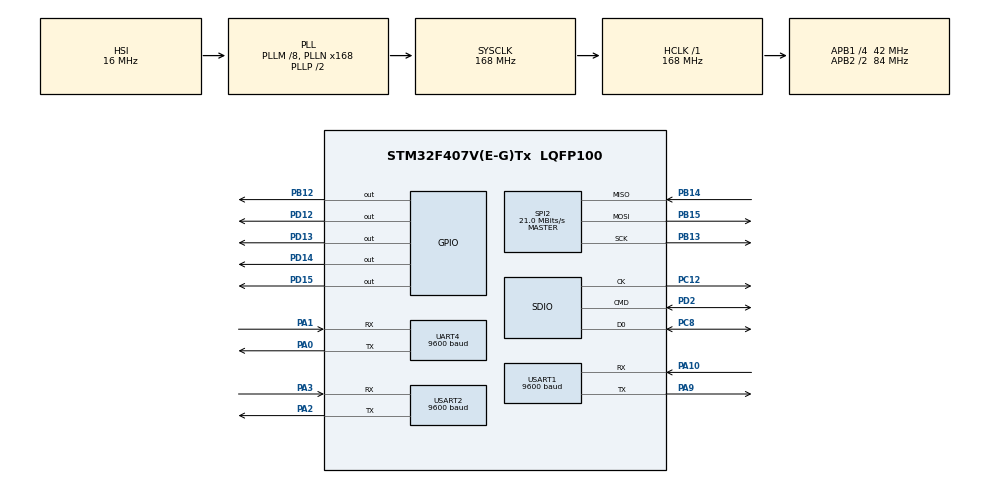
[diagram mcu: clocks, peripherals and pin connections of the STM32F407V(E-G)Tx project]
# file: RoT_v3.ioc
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Mcu.Family=STM32F4
Mcu.Name=STM32F407V(E-G)Tx
Mcu.Package=LQFP100
NVIC.PriorityGroup=NVIC_PRIORITYGROUP_4
PA0-WKUP.Mode=Asynchronous
PA0-WKUP.Signal=UART4_TX
PA1.Mode=Asynchronous
PA1.Signal=UART4_RX
PA10.Mode=Asynchronous
PA10.Signal=USART1_RX
PA13.Mode=Serial_Wire
PA13.Signal=SYS_JTMS-SWDIO
PA14.Mode=Serial_Wire
PA14.Signal=SYS_JTCK-SWCLK
PA2.Mode=Asynchronous
PA2.Signal=USART2_TX
PA3.Mode=Asynchronous
PA3.Signal=USART2_RX
PA9.Mode=Asynchronous
PA9.Signal=USART1_TX
PB12.Signal=GPIO_Output
PB13.Mode=Full_Duplex_Master
PB13.Signal=SPI2_SCK
PB14.Mode=Full_Duplex_Master
PB14.Signal=SPI2_MISO
PB15.Mode=Full_Duplex_Master
PB15.Signal=SPI2_MOSI
PC12.Mode=SD_1_bit
PC12.Signal=SDIO_CK
PC8.Mode=SD_1_bit
PC8.Signal=SDIO_D0
PD12.Signal=GPIO_Output
PD13.Signal=GPIO_Output
PD14.Signal=GPIO_Output
PD15.Signal=GPIO_Output
PD2.Mode=SD_1_bit
PD2.Signal=SDIO_CMD
PH0-OSC_IN.Mode=HSE-External-Oscillator
PH0-OSC_IN.Signal=RCC_OSC_IN
PH1-OSC_OUT.Mode=HSE-External-Oscillator
PH1-OSC_OUT.Signal=RCC_OSC_OUT
ProjectManager.HeapSize=0x200
ProjectManager.StackSize=0x400
ProjectManager.TargetToolchain=STM32CubeIDE
RCC.48MHZClocksFreq_Value=84000000
RCC.AHBFreq_Value=168000000
RCC.APB1CLKDivider=RCC_HCLK_DIV4
RCC.APB1Freq_Value=42000000
RCC.APB1TimFreq_Value=84000000
RCC.APB2CLKDivider=RCC_HCLK_DIV2
RCC.APB2Freq_Value=84000000
RCC.APB2TimFreq_Value=168000000
RCC.CortexFreq_Value=168000000
RCC.HCLKFreq_Value=168000000
RCC.HSE_VALUE=8000000
RCC.HSI_VALUE=16000000
RCC.LSE_VALUE=32768
RCC.PLLM=8
RCC.PLLN=168
RCC.SYSCLKFreq_VALUE=168000000
RCC.SYSCLKSource=RCC_SYSCLKSOURCE_PLLCLK
RCC.VCOOutputFreq_Value=336000000
SDIO.ClockDiv=2
SPI2.CalculateBaudRate=21.0 MBits/s
SPI2.Direction=SPI_DIRECTION_2LINES
SPI2.Mode=SPI_MODE_MASTER
SPI2.VirtualType=VM_MASTER
TIM1.Prescaler=33600-1
UART4.BaudRate=9600
UART4.VirtualMode=Asynchronous
USART1.BaudRate=9600
USART1.VirtualMode=VM_ASYNC
USART2.BaudRate=9600
USART2.VirtualMode=VM_ASYNC
VP_FATFS_VS_SDIO.Mode=SDIO
VP_TIM1_VS_ClockSourceINT.Mode=Internal
board=custom

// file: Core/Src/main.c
/* USER CODE BEGIN Header */
/**
  ******************************************************************************
  * @file           : main.c
  * @brief          : Main program body
  ******************************************************************************
  * @attention
  *
  * Copyright (c) 2023 STMicroelectronics.
  * All rights reserved.
  *
  * This software is licensed under terms that can be found in the LICENSE file
  * in the root directory of this software component.
  * If no LICENSE file comes with this software, it is provided AS-IS.
  *
  ******************************************************************************
  */
/* USER CODE END Header */
#include "main.h"
#include "fatfs.h"

/* USER CODE BEGIN Includes */
#include "time.h"
#include "ed25519.h"
#include "sha3.h"
#include "ge.h"
#include "sc.h"
#include "ChaCha20.h"
#include "stdio.h"
#include "Ex_Flash.h"
#include "W25Qxx.h"
/* USER CODE END Includes */

/* USER CODE BEGIN PTD */
#define FLASH_SLOT_0_ADD	0x08020000
#define FLASH_SLOT_1_ADD	0x08060000
#define FLASH_SLOT_2_ADD	0x080A0000

typedef enum{
	FLASH_SLOT_0 = 0x00, //bootloader
	FLASH_SLOT_1, //app1
	FLASH_SLOT_2  //app2
}defFlashSlot;

typedef enum{
    HANDLE_OK = 0x00,
    HANDLE_FAILED
}defReturnType;
/* USER CODE END PTD */

SD_HandleTypeDef hsd;

SPI_HandleTypeDef hspi2;

TIM_HandleTypeDef htim1;

UART_HandleTypeDef huart4;
UART_HandleTypeDef huart1;
UART_HandleTypeDef huart2;

void SystemClock_Config(void);
static void MX_GPIO_Init(void);
static void MX_SDIO_SD_Init(void);
static void MX_USART1_UART_Init(void);
static void MX_UART4_Init(void);
static void MX_USART2_UART_Init(void);
static void MX_TIM1_Init(void);
static void MX_SPI2_Init(void);
/* USER CODE BEGIN PFP */
static uint32_t total_time = 0;
/* USER CODE END PFP */

/* USER CODE BEGIN 0 */
static void goto_application(uint32_t slotadd)
{
//  printf("Gonna Jump to Application\r\n");

  void (*app_reset_handler)(void) = (void*)(*((volatile uint32_t*) (slotadd + 4U)));

//  __set_MSP(*(volatile uint32_t*) 0x08020000);

  // Turn OFF the Green Led to tell the user that Bootloader is not running
//  HAL_GPIO_WritePin(GPIOB, GPIO_PIN_0, GPIO_PIN_RESET );    //Green LED OFF
  app_reset_handler();    //call the app reset handler
}

HAL_StatusTypeDef sd_init(){
	if(BSP_SD_Init() == MSD_OK ) return HAL_OK;
	else return HAL_ERROR;
}

FRESULT sd_mount(FATFS *fatfs){
	return f_mount(fatfs, "", 1);
}

FRESULT sd_open(FIL *myfile, const char *file_name, uint8_t mode){
	return f_open(myfile, file_name, mode);
}

UINT sd_write(FIL *myfile, const uint8_t *write_buf, uint16_t size){
		UINT bw;
		f_write (myfile, write_buf, size, &bw);
		return bw;
}

uint32_t sd_read(FIL *myfile, uint8_t *read_buf, uint32_t size){
	uint32_t br = 0;
	f_read(myfile, read_buf, size,(UINT*) &br);
	return br;
}

void sd_close(FIL *myfile){
	f_close(myfile);
}

void store_into_flash(uint8_t* buffer, uint32_t address, uint16_t size){
	for(uint16_t s = 0; s < size; s++){
		HAL_FLASH_Program(FLASH_TYPEPROGRAM_BYTE, address, *(buffer));
		address++;
		buffer++;
	}
}

defReturnType init_flash(uint8_t slot){
	defReturnType ret;

	ret = HAL_FLASH_Unlock();
	if(ret != (uint8_t)HAL_OK){
		return HANDLE_FAILED;
	}

	FLASH_EraseInitTypeDef EraseInitStruct;
	uint32_t SectorError;

	EraseInitStruct.TypeErase     = FLASH_TYPEERASE_SECTORS;

	if(slot == 0x00){
		EraseInitStruct.Sector        = FLASH_SECTOR_5;
	}
	else if(slot == 0x01){
		EraseInitStruct.Sector        = FLASH_SECTOR_7;
	}
	else if(slot == 0x02){
		EraseInitStruct.Sector        = FLASH_SECTOR_9;
	}
	EraseInitStruct.NbSectors     = 2;           //erase 2 sectors
	EraseInitStruct.VoltageRange  = FLASH_VOLTAGE_RANGE_3;

	ret = HAL_FLASHEx_Erase( &EraseInitStruct, &SectorError );
	if( ret != (uint8_t)HAL_OK )
	{
		return HANDLE_FAILED;
	}

	return HANDLE_OK;
}
uint32_t read_file_and_store_into_flash(FATFS *fatfs, FIL *myfile, const char *file_name, uint8_t mode, defFlashSlot slot, uint8_t *signature, uint8_t *publickey, uint8_t *hashvalue){

	uint32_t BaseAddress;
	if(sd_init() == HAL_ERROR) return HAL_ERROR;
//	HAL_GPIO_WritePin(GPIOE, GPIO_PIN_0, GPIO_PIN_SET);
	if(sd_mount(fatfs) != FR_OK) return HAL_ERROR;
//	HAL_GPIO_WritePin(GPIOE, GPIO_PIN_1, GPIO_PIN_SET);
	if(sd_open(myfile, file_name, mode) != FR_OK) return HAL_ERROR;
//	HAL_GPIO_WritePin(GPIOE, GPIO_PIN_2, GPIO_PIN_SET);
	uint32_t size_file = f_size(myfile) - 160;

	if(init_flash(slot) != HANDLE_OK) return HAL_ERROR;
//	HAL_GPIO_WritePin(GPIOE, GPIO_PIN_3, GPIO_PIN_SET);

	if(slot == FLASH_SLOT_0) BaseAddress = FLASH_SLOT_0_ADD;
	else if(slot == FLASH_SLOT_1) BaseAddress = FLASH_SLOT_1_ADD;
	else if(slot == FLASH_SLOT_2) BaseAddress = FLASH_SLOT_2_ADD;
	else{}

//	HAL_GPIO_WritePin(GPIOE, GPIO_PIN_4, GPIO_PIN_SET);
	uint16_t round = size_file/1024; round += (size_file%1024 != 0)?1:0;

	uint8_t buffer_cipher[1024] = {0,};
	uint8_t buffer_plaintext[1024] = {0,};

	if(sd_read(myfile, signature, 64) != 64) return HAL_ERROR;
	if(sd_read(myfile, publickey, 32) != 32) return HAL_ERROR;
	if(sd_read(myfile, hashvalue, 64) != 64) return HAL_ERROR;

	for(uint16_t r = 0; r < round - 1; r++){
		if(sd_read(myfile, buffer_cipher, 1024) != 1024) return HAL_ERROR;
		Chacha20_Xor(Gb_scKeyStream, Gb_sulCell, buffer_cipher, 1024, buffer_plaintext);
		store_into_flash(buffer_plaintext, BaseAddress + r*1024, 1024);
		memset(buffer_cipher,0,1024);
		memset(buffer_plaintext,0,1024);
	}

//	HAL_GPIO_WritePin(GPIOE, GPIO_PIN_5, GPIO_PIN_SET);

	if(sd_read(myfile, buffer_cipher, size_file%1024) != size_file%1024) return HAL_ERROR;
	Chacha20_Xor(Gb_scKeyStream, Gb_sulCell, buffer_cipher, size_file%1024, buffer_plaintext);
	store_into_flash(buffer_plaintext, BaseAddress + (round - 1)*1024, size_file%1024);
//	HAL_GPIO_WritePin(GPIOE, GPIO_PIN_7, GPIO_PIN_SET);

	sd_close(myfile);
	HAL_FLASH_Lock();

	return size_file;
}

void read_chunk_data_in_flash(uint8_t *buf, uint32_t address, uint16_t size){
	for(uint32_t index = 0; index< size ; index++){
		*buf = *(__IO uint8_t *)(address + index);
		buf++;
	}
}

HAL_StatusTypeDef tree_hash_on_flash(defFlashSlot slot, uint8_t* md, uint32_t size){
	uint16 round = size/1024; round += (size%64 != 0)?1:0;
	uint8_t buff_hash[round][64];
	uint32_t BaseAddress;

	if(slot == FLASH_SLOT_0) BaseAddress = FLASH_SLOT_0_ADD;
	else if(slot == FLASH_SLOT_1) BaseAddress = FLASH_SLOT_1_ADD;
	else if(slot == FLASH_SLOT_2) BaseAddress = FLASH_SLOT_2_ADD;
	else{}

	for(uint16 i = 0;i<round - 1;i++){
		uint8 buff_file[1024] = {0,};
		read_chunk_data_in_flash(buff_file, BaseAddress + i*1024, 1024);
		sha3(buff_file,1024, &buff_hash[i], 64);
	}

	uint8_t buff_file[1024] = {0,};
	read_chunk_data_in_flash(buff_file, BaseAddress + (round-1)*1024, size%1024);

	sha3(buff_file, size%1024, &buff_hash[round-1], 64);

	uint8_t all_of_hash[round*64];
	for(uint16 i = 0; i< round; i++){
		for(uint16 j = 0;j<64;j++){
			all_of_hash[i*64+j] = buff_hash[i][j];
		}
	}

	sha3(all_of_hash, round*64, md, 64);

	return HAL_OK;
}

uint8_t read_reset_cause(){
	HAL_FLASH_Unlock();
	uint8_t reset_cause = ((*((__IO uint32 *)0x080E0000))&0x00000100)>>8;
	HAL_FLASH_Lock();
	return reset_cause;

}

//defReturnType init_flash(uint8_t slot); //call only one time.
//HAL_StatusTypeDef sd_init();
//FRESULT sd_mount(FATFS *fatfs);
//FRESULT sd_open(FIL *myfile, const char *file_name, uint8_t mode);
//UINT sd_write(FIL *myfile, const uint8_t *write_buf, uint16_t size);
//uint32_t sd_read(FIL *myfile, uint8_t *read_buf,  uint32_t size);
//void sd_close(FIL *myfile);
//
//void store_into_flash(uint8_t* buffer, uint32_t address, uint16_t size);
//void read_chunk_data_in_flash(uint8_t *buf, uint32_t address, uint16_t size);
//uint32_t read_file_and_store_into_flash(FATFS *fatfs, FIL *myfile, const char *file_name, uint8_t mode, defFlashSlot slot, uint8_t *signature, uint8_t *publickey, uint8_t *hashvalue);
//HAL_StatusTypeDef tree_hash_on_flash(defFlashSlot slot, uint8_t* md, uint32_t size);

uint32_t size = 0;
uint8_t md[64], signature[64], publickey[32], hashvaluer[64], sig[64], pub[32], hashval[64];
FRESULT f1,f2,f3;
uint8_t buffer[160] = {0,};

void Update_Signature(Certificate *cert, uint8_t* signature){
	for(uint8_t index = 0; index < 64; index++){
		cert->signature[index] = signature[index];
	}
}

void Update_Publickey(Certificate *cert, uint8_t* publickey){
	for(uint8_t index = 0;index < 32; index++){
		cert->publickey[index] = publickey[index];
	}
}
void Update_HashValue(Certificate *cert, uint8_t* hashvalue){
	for(uint8_t index = 0;index < 32; index++){
			cert->hash[index] = hashvalue[index];
	}
}

void Update_BootloaderCert(uint8_t* signature, uint8_t* publickey, uint8_t* hashvalue){
	Update_Signature(&Bootloader_Cert, signature);
	Update_Publickey(&Bootloader_Cert, publickey);
	Update_HashValue(&Bootloader_Cert, hashvalue);
}

void Update_Application1Cert(uint8_t* signature, uint8_t* publickey, uint8_t* hashvalue){
	Update_Signature(&Application1_Cert, signature);
	Update_Publickey(&Application1_Cert, publickey);
	Update_HashValue(&Application1_Cert, hashvalue);
}

void Update_Application2Cert(uint8_t* signature, uint8_t* publickey, uint8_t* hashvalue){
	Update_Signature(&Application2_Cert, signature);
	Update_Publickey(&Application2_Cert, publickey);
	Update_HashValue(&Application2_Cert, hashvalue);
}

/* USER CODE END 0 */

int main(void)
{

  /* MCU Configuration--------------------------------------------------------*/

  /* Reset of all peripherals, Initializes the Flash interface and the Systick. */
  HAL_Init();

  /* Configure the system clock */
  SystemClock_Config();

  /* Initialize all configured peripherals */
  MX_GPIO_Init();
  MX_SDIO_SD_Init();
  MX_FATFS_Init();
  MX_USART1_UART_Init();
  MX_UART4_Init();
  MX_USART2_UART_Init();
  MX_TIM1_Init();
  MX_SPI2_Init();
  /* USER CODE BEGIN 2 */
  HAL_TIM_Base_Start(&htim1);
  uint16_t time = 0;
  uint32_t total_time = 0;
  FATFS fatfs; FIL myfile;
//  uint8_t sig[64], pub[32], has[64];
//  W25qxx_Init();
//    	  for(uint8_t i = 0;i<64;i++){
//    		  sig[i] = i + 1;
//    		  has[i] = i + 2;
//
//    	  }
//    	  for (uint8_t i = 0;i<32;i++){
//    		  pub[i] = i + 3;
//    	  }
//
//    	  Update_BootloaderCert(sig, pub, has);
//  W25qxx_EraseSector(1);
//  read_file_and_store_into_flash(&fatfs, &myfile, "boot.bin", FA_READ, FLASH_SLOT_0, signature, publickey, hashvaluer);
//  Update_BootloaderCert(signature, publickey, hashvaluer);
//  W25qxx_WriteSector(Bootloader_Cert.signature, 1, 0, 64);
//  W25qxx_WriteSector(Bootloader_Cert.publickey, 1, 64, 32);
//  W25qxx_WriteSector(Bootloader_Cert.hash, 1, 96, 64);
//
//  W25qxx_EraseSector(2);
//  read_file_and_store_into_flash(&fatfs, &myfile, "appa.bin", FA_READ, FLASH_SLOT_1, signature, publickey, hashvaluer);
//  Update_Application1Cert(signature, publickey, hashvaluer);
//  W25qxx_WriteSector(Application1_Cert.signature, 2, 0, 64);
//  W25qxx_WriteSector(Application1_Cert.publickey, 2, 64, 32);
//  W25qxx_WriteSector(Application1_Cert.hash, 2, 96, 64);
//
//  W25qxx_ReadSector(buffer, 1, 0, 160);

  if(read_reset_cause()) {
	  HAL_GPIO_WritePin(GPIOD, GPIO_PIN_14, GPIO_PIN_SET);
	  goto_application(FLASH_SLOT_0_ADD);
  }
  HAL_UART_Transmit(&huart2, "\r*****THIS IS ROT PROGRAM*****\n\r", 32, 1000);
  uint8_t buffer[100] = {0,};
  TIM1->CNT = 0;
  size = read_file_and_store_into_flash(&fatfs, &myfile, "boot.bin", FA_READ, FLASH_SLOT_0, signature, publickey, hashvaluer);
  time = TIM1->CNT;
  total_time += time;
  HAL_UART_Transmit(&huart2, "\r       -READ BOOTLOADER AND STORE IN FLASH\n\r", 50, 1000);
  sprintf(buffer, "\r              +SIZE: %d BYTES\n\r              +TIME: %.2f(MS)\n\r", size, (float)time/5.0);
  HAL_UART_Transmit(&huart2, buffer, 100, 1000);
  memset(buffer, 0, 100);
  TIM1->CNT = 0;
  tree_hash_on_flash(FLASH_SLOT_0, md, size);
  time = TIM1->CNT;
  total_time += time;
  HAL_UART_Transmit(&huart2, "\r       -TREE HASH IN FLASH\n\r", 28, 1000);
  sprintf(buffer, "\r              +TIME: %.2f(MS)\n\r", (float)time/5.0);
  HAL_UART_Transmit(&huart2, buffer, 40, 1000);
  memset(buffer, 0, 100);
  TIM1->CNT = 0;
  W25qxx_Init();
  W25qxx_ReadSector(sig, 1, ADDRESS_STORE_BOOTLOADER_CERT , 64);
  W25qxx_ReadSector(pub, 1, ADDRESS_STORE_BOOTLOADER_CERT + 64, 32);
  W25qxx_ReadSector(hashval, 1, ADDRESS_STORE_BOOTLOADER_CERT + 32 + 64, 64);
  if (ed25519_verify(sig, md, 64, pub)) {
	  time = TIM1->CNT;
	  total_time += time;
	  HAL_UART_Transmit(&huart2, "\r       -VERIFY BOOTLOADER SUCCESSFULL\n\r", 50, 1000);
	  sprintf(buffer, "\r              +TIME: %.2f(MS)\n\r", (float)time/5.0);
	  HAL_UART_Transmit(&huart2, buffer, 40, 1000);
	  sprintf(buffer, "\r       -TOTAL TIME: %.2f(MS)\n\r", (float)total_time/5.0);
	  HAL_UART_Transmit(&huart2, buffer, 40, 1000);
	  goto_application(FLASH_SLOT_0_ADD);
	  HAL_GPIO_WritePin(GPIOD, GPIO_PIN_14, GPIO_PIN_SET);
  } else {
	  HAL_GPIO_WritePin(GPIOD, GPIO_PIN_14, GPIO_PIN_SET);
	  Error_Handler();
  }

//	sd_init();
//	f1 = sd_mount(&fatfs);
//	f2 = sd_open(&myfile, "boot.bin", FA_READ);
//	sd_read(&myfile, publickey, 32);
//	sd_close(&myfile);

  /* USER CODE END 2 */

  /* Infinite loop */
  while (1)
  {

    /* USER CODE BEGIN 3 */
//	  HAL_Delay(200);
//	  HAL_GPIO_WritePin(GPIOD, GPIO_PIN_14, GPIO_PIN_SET);
//	  goto_application(FLASH_SLOT_1_ADD);
//	  HAL_GPIO_TogglePin(GPIOD, GPIO_PIN_15);
//	  HAL_Delay(100);
  }
  /* USER CODE END 3 */
}

void SystemClock_Config(void)
{
  RCC_OscInitTypeDef RCC_OscInitStruct = {0};
  RCC_ClkInitTypeDef RCC_ClkInitStruct = {0};

  /** Configure the main internal regulator output voltage
  */
  __HAL_RCC_PWR_CLK_ENABLE();
  __HAL_PWR_VOLTAGESCALING_CONFIG(PWR_REGULATOR_VOLTAGE_SCALE1);
  /** Initializes the RCC Oscillators according to the specified parameters
  * in the RCC_OscInitTypeDef structure.
  */
  RCC_OscInitStruct.OscillatorType = RCC_OSCILLATORTYPE_HSI;
  RCC_OscInitStruct.HSIState = RCC_HSI_ON;
  RCC_OscInitStruct.HSICalibrationValue = RCC_HSICALIBRATION_DEFAULT;
  RCC_OscInitStruct.PLL.PLLState = RCC_PLL_ON;
  RCC_OscInitStruct.PLL.PLLSource = RCC_PLLSOURCE_HSI;
  RCC_OscInitStruct.PLL.PLLM = 8;
  RCC_OscInitStruct.PLL.PLLN = 168;
  RCC_OscInitStruct.PLL.PLLP = RCC_PLLP_DIV2;
  RCC_OscInitStruct.PLL.PLLQ = 4;
  if (HAL_RCC_OscConfig(&RCC_OscInitStruct) != HAL_OK)
  {
    Error_Handler();
  }
  /** Initializes the CPU, AHB and APB buses clocks
  */
  RCC_ClkInitStruct.ClockType = RCC_CLOCKTYPE_HCLK|RCC_CLOCKTYPE_SYSCLK
                              |RCC_CLOCKTYPE_PCLK1|RCC_CLOCKTYPE_PCLK2;
  RCC_ClkInitStruct.SYSCLKSource = RCC_SYSCLKSOURCE_PLLCLK;
  RCC_ClkInitStruct.AHBCLKDivider = RCC_SYSCLK_DIV1;
  RCC_ClkInitStruct.APB1CLKDivider = RCC_HCLK_DIV4;
  RCC_ClkInitStruct.APB2CLKDivider = RCC_HCLK_DIV2;

  if (HAL_RCC_ClockConfig(&RCC_ClkInitStruct, FLASH_LATENCY_5) != HAL_OK)
  {
    Error_Handler();
  }
}

static void MX_SDIO_SD_Init(void)
{

  hsd.Instance = SDIO;
  hsd.Init.ClockEdge = SDIO_CLOCK_EDGE_RISING;
  hsd.Init.ClockBypass = SDIO_CLOCK_BYPASS_DISABLE;
  hsd.Init.ClockPowerSave = SDIO_CLOCK_POWER_SAVE_DISABLE;
  hsd.Init.BusWide = SDIO_BUS_WIDE_1B;
  hsd.Init.HardwareFlowControl = SDIO_HARDWARE_FLOW_CONTROL_DISABLE;
  hsd.Init.ClockDiv = 2;

}

static void MX_SPI2_Init(void)
{

  /* SPI2 parameter configuration*/
  hspi2.Instance = SPI2;
  hspi2.Init.Mode = SPI_MODE_MASTER;
  hspi2.Init.Direction = SPI_DIRECTION_2LINES;
  hspi2.Init.DataSize = SPI_DATASIZE_8BIT;
  hspi2.Init.CLKPolarity = SPI_POLARITY_LOW;
  hspi2.Init.CLKPhase = SPI_PHASE_1EDGE;
  hspi2.Init.NSS = SPI_NSS_SOFT;
  hspi2.Init.BaudRatePrescaler = SPI_BAUDRATEPRESCALER_2;
  hspi2.Init.FirstBit = SPI_FIRSTBIT_MSB;
  hspi2.Init.TIMode = SPI_TIMODE_DISABLE;
  hspi2.Init.CRCCalculation = SPI_CRCCALCULATION_DISABLE;
  hspi2.Init.CRCPolynomial = 10;
  if (HAL_SPI_Init(&hspi2) != HAL_OK)
  {
    Error_Handler();
  }

}

static void MX_TIM1_Init(void)
{

  TIM_ClockConfigTypeDef sClockSourceConfig = {0};
  TIM_MasterConfigTypeDef sMasterConfig = {0};

  htim1.Instance = TIM1;
  htim1.Init.Prescaler = 33600-1;
  htim1.Init.CounterMode = TIM_COUNTERMODE_UP;
  htim1.Init.Period = 65535;
  htim1.Init.ClockDivision = TIM_CLOCKDIVISION_DIV1;
  htim1.Init.RepetitionCounter = 0;
  htim1.Init.AutoReloadPreload = TIM_AUTORELOAD_PRELOAD_DISABLE;
  if (HAL_TIM_Base_Init(&htim1) != HAL_OK)
  {
    Error_Handler();
  }
  sClockSourceConfig.ClockSource = TIM_CLOCKSOURCE_INTERNAL;
  if (HAL_TIM_ConfigClockSource(&htim1, &sClockSourceConfig) != HAL_OK)
  {
    Error_Handler();
  }
  sMasterConfig.MasterOutputTrigger = TIM_TRGO_RESET;
  sMasterConfig.MasterSlaveMode = TIM_MASTERSLAVEMODE_DISABLE;
  if (HAL_TIMEx_MasterConfigSynchronization(&htim1, &sMasterConfig) != HAL_OK)
  {
    Error_Handler();
  }

}

static void MX_UART4_Init(void)
{

  huart4.Instance = UART4;
  huart4.Init.BaudRate = 9600;
  huart4.Init.WordLength = UART_WORDLENGTH_8B;
  huart4.Init.StopBits = UART_STOPBITS_1;
  huart4.Init.Parity = UART_PARITY_NONE;
  huart4.Init.Mode = UART_MODE_TX_RX;
  huart4.Init.HwFlowCtl = UART_HWCONTROL_NONE;
  huart4.Init.OverSampling = UART_OVERSAMPLING_16;
  if (HAL_UART_Init(&huart4) != HAL_OK)
  {
    Error_Handler();
  }

}

static void MX_USART1_UART_Init(void)
{

  huart1.Instance = USART1;
  huart1.Init.BaudRate = 9600;
  huart1.Init.WordLength = UART_WORDLENGTH_8B;
  huart1.Init.StopBits = UART_STOPBITS_1;
  huart1.Init.Parity = UART_PARITY_NONE;
  huart1.Init.Mode = UART_MODE_TX_RX;
  huart1.Init.HwFlowCtl = UART_HWCONTROL_NONE;
  huart1.Init.OverSampling = UART_OVERSAMPLING_16;
  if (HAL_UART_Init(&huart1) != HAL_OK)
  {
    Error_Handler();
  }

}

static void MX_USART2_UART_Init(void)
{

  huart2.Instance = USART2;
  huart2.Init.BaudRate = 9600;
  huart2.Init.WordLength = UART_WORDLENGTH_8B;
  huart2.Init.StopBits = UART_STOPBITS_1;
  huart2.Init.Parity = UART_PARITY_NONE;
  huart2.Init.Mode = UART_MODE_TX_RX;
  huart2.Init.HwFlowCtl = UART_HWCONTROL_NONE;
  huart2.Init.OverSampling = UART_OVERSAMPLING_16;
  if (HAL_UART_Init(&huart2) != HAL_OK)
  {
    Error_Handler();
  }

}

static void MX_GPIO_Init(void)
{
  GPIO_InitTypeDef GPIO_InitStruct = {0};

  /* GPIO Ports Clock Enable */
  __HAL_RCC_GPIOH_CLK_ENABLE();
  __HAL_RCC_GPIOA_CLK_ENABLE();
  __HAL_RCC_GPIOB_CLK_ENABLE();
  __HAL_RCC_GPIOD_CLK_ENABLE();
  __HAL_RCC_GPIOC_CLK_ENABLE();

  /*Configure GPIO pin Output Level */
  HAL_GPIO_WritePin(GPIOB, GPIO_PIN_12, GPIO_PIN_RESET);

  /*Configure GPIO pin Output Level */
  HAL_GPIO_WritePin(GPIOD, GPIO_PIN_12|GPIO_PIN_13|GPIO_PIN_14|GPIO_PIN_15, GPIO_PIN_RESET);

  /*Configure GPIO pin : PB12 */
  GPIO_InitStruct.Pin = GPIO_PIN_12;
  GPIO_InitStruct.Mode = GPIO_MODE_OUTPUT_PP;
  GPIO_InitStruct.Pull = GPIO_NOPULL;
  GPIO_InitStruct.Speed = GPIO_SPEED_FREQ_LOW;
  HAL_GPIO_Init(GPIOB, &GPIO_InitStruct);

  /*Configure GPIO pins : PD12 PD13 PD14 PD15 */
  GPIO_InitStruct.Pin = GPIO_PIN_12|GPIO_PIN_13|GPIO_PIN_14|GPIO_PIN_15;
  GPIO_InitStruct.Mode = GPIO_MODE_OUTPUT_PP;
  GPIO_InitStruct.Pull = GPIO_NOPULL;
  GPIO_InitStruct.Speed = GPIO_SPEED_FREQ_LOW;
  HAL_GPIO_Init(GPIOD, &GPIO_InitStruct);

}

void Error_Handler(void)
{
  __disable_irq();
  while (1)
  {
  }
}
